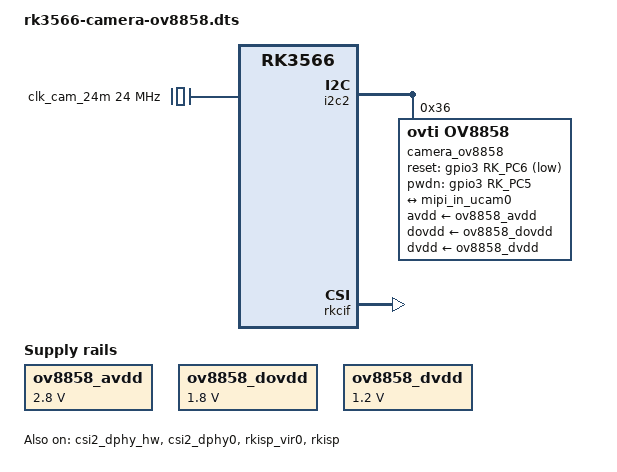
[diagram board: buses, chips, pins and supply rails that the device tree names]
/*
 * Device tree overlay for OV8858 (8MP Camera) on RK3566
 *
 * OmniVision OV8858 - 8MP MIPI CSI-2 sensor
 * Common sensor in mobile devices and embedded systems
 *
 * Compatible with Radxa Zero 3W and similar RK3566-based boards
 * Uses I2C2 and CSI2 DPHY0 in full mode (2 lanes)
 *
 * Copyright (c) 2024 MYSh LLC
 */
/dts-v1/;
/plugin/;

#include "dt-bindings.h"

/ {
	compatible = "rockchip,rk3566";

	metadata {
		title = "OV8858 Camera (8MP)";
		category = "camera";
		exclusive = "csi2_dphy0";
		description = "Enable OmniVision OV8858 8MP camera sensor on CSI2 DPHY0";
	};
};

&{/} {
	clk_cam_24m: external-camera-clock-24m {
		status = "okay";
		compatible = "fixed-clock";
		clock-frequency = <24000000>;
		clock-output-names = "clk_cam_24m";
		#clock-cells = <0>;
	};

	ov8858_avdd: ov8858-avdd {
		status = "okay";
		compatible = "regulator-fixed";
		regulator-name = "ov8858_avdd";
		regulator-min-microvolt = <2800000>;
		regulator-max-microvolt = <2800000>;
		regulator-always-on;
		regulator-boot-on;
	};

	ov8858_dovdd: ov8858-dovdd {
		status = "okay";
		compatible = "regulator-fixed";
		regulator-name = "ov8858_dovdd";
		regulator-min-microvolt = <1800000>;
		regulator-max-microvolt = <1800000>;
		regulator-always-on;
		regulator-boot-on;
	};

	ov8858_dvdd: ov8858-dvdd {
		status = "okay";
		compatible = "regulator-fixed";
		regulator-name = "ov8858_dvdd";
		regulator-min-microvolt = <1200000>;
		regulator-max-microvolt = <1200000>;
		regulator-always-on;
		regulator-boot-on;
	};
};

&i2c2 {
	status = "okay";
	pinctrl-names = "default";
	pinctrl-0 = <&i2c2m1_xfer>;
	#address-cells = <1>;
	#size-cells = <0>;

	camera_ov8858: camera-ov8858@36 {
		status = "okay";
		compatible = "ovti,ov8858";
		reg = <0x36>;
		clocks = <&clk_cam_24m>;
		clock-names = "xvclk";

		avdd-supply = <&ov8858_avdd>;
		dovdd-supply = <&ov8858_dovdd>;
		dvdd-supply = <&ov8858_dvdd>;

		reset-gpios = <&gpio3 RK_PC6 GPIO_ACTIVE_LOW>;
		pwdn-gpios = <&gpio3 RK_PC5 GPIO_ACTIVE_HIGH>;

		rockchip,camera-module-index = <0>;
		rockchip,camera-module-facing = "back";
		rockchip,camera-module-name = "ov8858";
		rockchip,camera-module-lens-name = "default";

		port {
			ov8858_out: endpoint {
				remote-endpoint = <&mipi_in_ucam0>;
				data-lanes = <1 2>;
			};
		};
	};
};

&csi2_dphy_hw {
	status = "okay";
};

&csi2_dphy0 {
	status = "okay";

	ports {
		#address-cells = <1>;
		#size-cells = <0>;

		port@0 {
			reg = <0>;
			#address-cells = <1>;
			#size-cells = <0>;

			mipi_in_ucam0: endpoint@1 {
				reg = <1>;
				remote-endpoint = <&ov8858_out>;
				data-lanes = <1 2>;
			};
		};

		port@1 {
			reg = <1>;
			#address-cells = <1>;
			#size-cells = <0>;

			dphy0_out: endpoint@1 {
				reg = <1>;
				remote-endpoint = <&isp0_in>;
			};
		};
	};
};

&rkisp_vir0 {
	status = "okay";

	port {
		#address-cells = <1>;
		#size-cells = <0>;

		isp0_in: endpoint@0 {
			reg = <0>;
			remote-endpoint = <&dphy0_out>;
		};
	};
};

&rkisp {
	status = "okay";
};

&rkisp_mmu {
	status = "okay";
};

&rkcif_mmu {
	status = "okay";
};

&rkcif {
	status = "okay";
};
